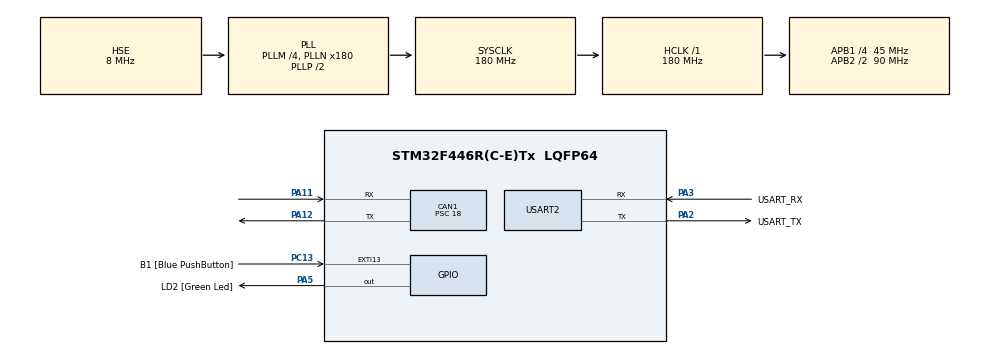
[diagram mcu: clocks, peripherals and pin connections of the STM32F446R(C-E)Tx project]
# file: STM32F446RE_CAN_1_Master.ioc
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CAN1.BS1=CAN_BS1_2TQ
CAN1.BS2=CAN_BS2_2TQ
CAN1.CalculateBaudRate=500000
CAN1.CalculateTimeBit=2000
CAN1.CalculateTimeQuantum=400.0
CAN1.Prescaler=18
Mcu.Family=STM32F4
Mcu.Name=STM32F446R(C-E)Tx
Mcu.Package=LQFP64
NVIC.PriorityGroup=NVIC_PRIORITYGROUP_0
PA11.Mode=CAN_Activate
PA11.Signal=CAN1_RX
PA12.Mode=CAN_Activate
PA12.Signal=CAN1_TX
PA13.GPIO_Label=TMS
PA13.Mode=Serial_Wire
PA13.Signal=SYS_JTMS-SWDIO
PA14.GPIO_Label=TCK
PA14.Mode=Serial_Wire
PA14.Signal=SYS_JTCK-SWCLK
PA2.GPIO_Label=USART_TX
PA2.Mode=Asynchronous
PA2.Signal=USART2_TX
PA3.GPIO_Label=USART_RX
PA3.Mode=Asynchronous
PA3.Signal=USART2_RX
PA5.GPIO_Label=LD2 [Green Led]
PA5.Signal=GPIO_Output
PB3.GPIO_Label=SWO
PB3.Signal=SYS_JTDO-SWO
PC13.GPIO_Label=B1 [Blue PushButton]
PC13.GPIO_ModeDefaultEXTI=GPIO_MODE_IT_FALLING
PC13.Signal=GPXTI13
PC14-OSC32_IN.Mode=LSE-External-Oscillator
PC14-OSC32_IN.Signal=RCC_OSC32_IN
PC15-OSC32_OUT.Mode=LSE-External-Oscillator
PC15-OSC32_OUT.Signal=RCC_OSC32_OUT
PH0-OSC_IN.Mode=HSE-External-Oscillator
PH0-OSC_IN.Signal=RCC_OSC_IN
PH1-OSC_OUT.Mode=HSE-External-Oscillator
PH1-OSC_OUT.Signal=RCC_OSC_OUT
ProjectManager.HeapSize=0x200
ProjectManager.StackSize=0x400
ProjectManager.TargetToolchain=STM32CubeIDE
RCC.48MHZClocksFreq_Value=84000000
RCC.AHBFreq_Value=180000000
RCC.APB1CLKDivider=RCC_HCLK_DIV4
RCC.APB1Freq_Value=45000000
RCC.APB1TimFreq_Value=90000000
RCC.APB2CLKDivider=RCC_HCLK_DIV2
RCC.APB2Freq_Value=90000000
RCC.APB2TimFreq_Value=180000000
RCC.CortexFreq_Value=180000000
RCC.FLatency-AdvancedSettings=FLASH_LATENCY_5
RCC.HCLKFreq_Value=180000000
RCC.HSE_VALUE=8000000
RCC.HSI_VALUE=16000000
RCC.PLLM=4
RCC.PLLN=180
RCC.PLLSourceVirtual=RCC_PLLSOURCE_HSE
RCC.SYSCLKFreq_VALUE=180000000
RCC.SYSCLKSource=RCC_SYSCLKSOURCE_PLLCLK
RCC.USBFreq_Value=180000000
RCC.VCOOutputFreq_Value=360000000
USART2.VirtualMode=VM_ASYNC
board=NUCLEO-F446RE

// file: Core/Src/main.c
/* USER CODE BEGIN Header */
/**
  ******************************************************************************
  * @file           : main.c
  * @brief          : Main program body
  ******************************************************************************
  * @attention
  *
  * Copyright (c) 2024 STMicroelectronics.
  * All rights reserved.
  *
  * This software is licensed under terms that can be found in the LICENSE file
  * in the root directory of this software component.
  * If no LICENSE file comes with this software, it is provided AS-IS.
  *
  ******************************************************************************
  */
/* USER CODE END Header */
#include "main.h"

CAN_HandleTypeDef hcan1;

UART_HandleTypeDef huart2;

/* USER CODE BEGIN PV */

CAN_TxHeaderTypeDef TxHeader;
CAN_RxHeaderTypeDef RxHeader;

uint8_t TxData[8];
uint8_t RxData[8];

uint32_t TxMailbox;
uint32_t check = 0;
/* USER CODE END PV */

void SystemClock_Config(void);
static void MX_GPIO_Init(void);
static void MX_USART2_UART_Init(void);
static void MX_CAN1_Init(void);

int main(void)
{

  /* MCU Configuration--------------------------------------------------------*/

  /* Reset of all peripherals, Initializes the Flash interface and the Systick. */
  HAL_Init();

  /* Configure the system clock */
  SystemClock_Config();

  /* Initialize all configured peripherals */
  MX_GPIO_Init();
  MX_USART2_UART_Init();
  MX_CAN1_Init();

  /* Infinite loop */
  /* USER CODE BEGIN WHILE */
  while (1)
  {

	  if(HAL_CAN_Start(&hcan1) != HAL_OK)
	    {
	  	  Error_Handler();
	    }

	    TxHeader.IDE = CAN_ID_STD;
	    TxHeader.StdId = 0x447;
	    TxHeader.RTR = CAN_RTR_DATA;
	    TxHeader.DLC = 8;

	    TxData[0] = 'H';
	    TxData[1] = 'e';
	    TxData[2] = 'l';
	    TxData[3] = 'l';
	    TxData[4] = 'o';
	    TxData[5] = ' ';
	    TxData[6] = 'M';
	    TxData[7] = 'C';

	    if(HAL_CAN_AddTxMessage(&hcan1, &TxHeader, TxData, &TxMailbox) != HAL_OK)
	    {
	  	  Error_Handler();
	    }

	    while(HAL_CAN_GetTxMailboxesFreeLevel(&hcan1) != 3){

	  	  Error_Handler();
	    }

	    check = HAL_CAN_GetRxFifoFillLevel(&hcan1, CAN_RX_FIFO0);
	    if(check != 1)
	    {
	  	  Error_Handler();
	    }

	    if(HAL_CAN_GetRxMessage(&hcan1, CAN_RX_FIFO0, &RxHeader, RxData) != HAL_OK){

	  	  Error_Handler();
	    }
    /* USER CODE END WHILE */

  }
}

void SystemClock_Config(void)
{
  RCC_OscInitTypeDef RCC_OscInitStruct = {0};
  RCC_ClkInitTypeDef RCC_ClkInitStruct = {0};

  /** Configure the main internal regulator output voltage
  */
  __HAL_RCC_PWR_CLK_ENABLE();
  __HAL_PWR_VOLTAGESCALING_CONFIG(PWR_REGULATOR_VOLTAGE_SCALE1);

  /** Initializes the RCC Oscillators according to the specified parameters
  * in the RCC_OscInitTypeDef structure.
  */
  RCC_OscInitStruct.OscillatorType = RCC_OSCILLATORTYPE_HSE;
  RCC_OscInitStruct.HSEState = RCC_HSE_ON;
  RCC_OscInitStruct.PLL.PLLState = RCC_PLL_ON;
  RCC_OscInitStruct.PLL.PLLSource = RCC_PLLSOURCE_HSE;
  RCC_OscInitStruct.PLL.PLLM = 4;
  RCC_OscInitStruct.PLL.PLLN = 180;
  RCC_OscInitStruct.PLL.PLLP = RCC_PLLP_DIV2;
  RCC_OscInitStruct.PLL.PLLQ = 2;
  RCC_OscInitStruct.PLL.PLLR = 2;
  if (HAL_RCC_OscConfig(&RCC_OscInitStruct) != HAL_OK)
  {
    Error_Handler();
  }

  /** Activate the Over-Drive mode
  */
  if (HAL_PWREx_EnableOverDrive() != HAL_OK)
  {
    Error_Handler();
  }

  /** Initializes the CPU, AHB and APB buses clocks
  */
  RCC_ClkInitStruct.ClockType = RCC_CLOCKTYPE_HCLK|RCC_CLOCKTYPE_SYSCLK
                              |RCC_CLOCKTYPE_PCLK1|RCC_CLOCKTYPE_PCLK2;
  RCC_ClkInitStruct.SYSCLKSource = RCC_SYSCLKSOURCE_PLLCLK;
  RCC_ClkInitStruct.AHBCLKDivider = RCC_SYSCLK_DIV1;
  RCC_ClkInitStruct.APB1CLKDivider = RCC_HCLK_DIV4;
  RCC_ClkInitStruct.APB2CLKDivider = RCC_HCLK_DIV2;

  if (HAL_RCC_ClockConfig(&RCC_ClkInitStruct, FLASH_LATENCY_5) != HAL_OK)
  {
    Error_Handler();
  }
}

static void MX_CAN1_Init(void)
{

  hcan1.Instance = CAN1;
  hcan1.Init.Prescaler = 18;
  hcan1.Init.Mode = CAN_MODE_NORMAL;
  hcan1.Init.SyncJumpWidth = CAN_SJW_1TQ;
  hcan1.Init.TimeSeg1 = CAN_BS1_2TQ;
  hcan1.Init.TimeSeg2 = CAN_BS2_2TQ;
  hcan1.Init.TimeTriggeredMode = DISABLE;
  hcan1.Init.AutoBusOff = DISABLE;
  hcan1.Init.AutoWakeUp = DISABLE;
  hcan1.Init.AutoRetransmission = DISABLE;
  hcan1.Init.ReceiveFifoLocked = DISABLE;
  hcan1.Init.TransmitFifoPriority = DISABLE;
  if (HAL_CAN_Init(&hcan1) != HAL_OK)
  {
    Error_Handler();
  }
  /* USER CODE BEGIN CAN1_Init 2 */
  CAN_FilterTypeDef sfilterConfig = {0};

  sfilterConfig.FilterActivation = CAN_FILTER_ENABLE;
  sfilterConfig.FilterBank = 18;
  sfilterConfig.FilterFIFOAssignment = CAN_FILTER_FIFO0;
  sfilterConfig.FilterIdHigh = 0; // Set to 0 for standard frame
  sfilterConfig.FilterIdLow = 0x446; // 11-bit identifier for standard frame
  sfilterConfig.FilterMaskIdHigh = 0; // Set to 0 for standard frame
  sfilterConfig.FilterMaskIdLow = 0x7FF; // Mask all bits for standard frame
  sfilterConfig.FilterMode = CAN_FILTERMODE_IDMASK;
  sfilterConfig.FilterScale = CAN_FILTERSCALE_32BIT;
  //sfilterConfig.SlaveStartFilterBank = 20; // Commented out for simplicity

  if( HAL_CAN_ConfigFilter(&hcan1, &sfilterConfig) != HAL_OK)
  {
	  Error_Handler();
  }

  /* USER CODE END CAN1_Init 2 */

}

static void MX_USART2_UART_Init(void)
{

  huart2.Instance = USART2;
  huart2.Init.BaudRate = 115200;
  huart2.Init.WordLength = UART_WORDLENGTH_8B;
  huart2.Init.StopBits = UART_STOPBITS_1;
  huart2.Init.Parity = UART_PARITY_NONE;
  huart2.Init.Mode = UART_MODE_TX_RX;
  huart2.Init.HwFlowCtl = UART_HWCONTROL_NONE;
  huart2.Init.OverSampling = UART_OVERSAMPLING_16;
  if (HAL_UART_Init(&huart2) != HAL_OK)
  {
    Error_Handler();
  }

}

static void MX_GPIO_Init(void)
{
  GPIO_InitTypeDef GPIO_InitStruct = {0};

  /* GPIO Ports Clock Enable */
  __HAL_RCC_GPIOC_CLK_ENABLE();
  __HAL_RCC_GPIOH_CLK_ENABLE();
  __HAL_RCC_GPIOA_CLK_ENABLE();
  __HAL_RCC_GPIOB_CLK_ENABLE();

  /*Configure GPIO pin Output Level */
  HAL_GPIO_WritePin(LD2_GPIO_Port, LD2_Pin, GPIO_PIN_RESET);

  /*Configure GPIO pin : B1_Pin */
  GPIO_InitStruct.Pin = B1_Pin;
  GPIO_InitStruct.Mode = GPIO_MODE_IT_FALLING;
  GPIO_InitStruct.Pull = GPIO_NOPULL;
  HAL_GPIO_Init(B1_GPIO_Port, &GPIO_InitStruct);

  /*Configure GPIO pin : LD2_Pin */
  GPIO_InitStruct.Pin = LD2_Pin;
  GPIO_InitStruct.Mode = GPIO_MODE_OUTPUT_PP;
  GPIO_InitStruct.Pull = GPIO_NOPULL;
  GPIO_InitStruct.Speed = GPIO_SPEED_FREQ_LOW;
  HAL_GPIO_Init(LD2_GPIO_Port, &GPIO_InitStruct);

}

void Error_Handler(void)
{
  __disable_irq();
  while (1)
  {
  }
}
